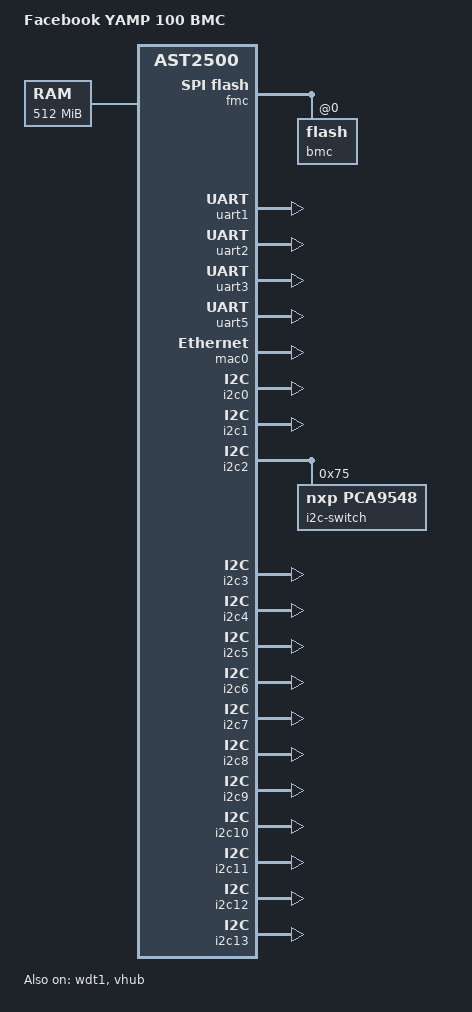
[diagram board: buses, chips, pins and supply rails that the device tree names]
// SPDX-License-Identifier: GPL-2.0+
// Copyright (c) 2018 Facebook Inc.
/dts-v1/;

#include "aspeed-g5.dtsi"

/ {
	model = "Facebook YAMP 100 BMC";
	compatible = "facebook,yamp-bmc", "aspeed,ast2500";

	aliases {
		/*
		 * Override the default uart aliases to avoid breaking
		 * the legacy applications.
		 */
		serial0 = &uart5;
		serial1 = &uart1;
		serial2 = &uart2;
		serial3 = &uart3;
	};

	chosen {
		stdout-path = &uart5;
		bootargs = "console=ttyS0,9600n8 root=/dev/ram rw";
	};

	memory@80000000 {
		reg = <0x80000000 0x20000000>;
	};
};

&pinctrl {
	aspeed,external-nodes = <&gfx &lhc>;
};

/*
 * Update reset type to "system" (full chip) to fix warm reboot hang issue
 * when reset type is set to default ("soc", gated by reset mask registers).
 */
&wdt1 {
	status = "okay";
	aspeed,reset-type = "system";
};

/*
 * wdt2 is not used by Yamp.
 */
&wdt2 {
	status = "disabled";
};

&fmc {
	status = "okay";
	flash@0 {
		status = "okay";
		m25p,fast-read;
		label = "bmc";
#include "facebook-bmc-flash-layout.dtsi"
	};
};

&uart1 {
	status = "okay";
	pinctrl-names = "default";
	pinctrl-0 = <&pinctrl_txd1_default
		     &pinctrl_rxd1_default>;
};

&uart2 {
	status = "okay";
	pinctrl-names = "default";
	pinctrl-0 = <&pinctrl_txd2_default
		     &pinctrl_rxd2_default>;
};

&uart3 {
	status = "okay";
	pinctrl-names = "default";
	pinctrl-0 = <&pinctrl_txd3_default
		     &pinctrl_rxd3_default>;
};

&uart5 {
	status = "okay";
};

&mac0 {
	status = "okay";
	use-ncsi;
	no-hw-checksum;
	pinctrl-names = "default";
	pinctrl-0 = <&pinctrl_rmii1_default>;
};

&i2c0 {
	status = "okay";
};

&i2c1 {
	status = "okay";
};

&i2c2 {
	status = "okay";

	i2c-switch@75 {
		compatible = "nxp,pca9548";
		#address-cells = <1>;
		#size-cells = <0>;
		reg = <0x75>;
	};
};

&i2c3 {
	status = "okay";
};

&i2c4 {
	status = "okay";
};

&i2c5 {
	status = "okay";
};

&i2c6 {
	status = "okay";
};

&i2c7 {
	status = "okay";
};

&i2c8 {
	status = "okay";
};

&i2c9 {
	status = "okay";
};

&i2c10 {
	status = "okay";
};

&i2c11 {
	status = "okay";
};

&i2c12 {
	status = "okay";
};

&i2c13 {
	status = "okay";
};

&vhub {
	status = "okay";
};
